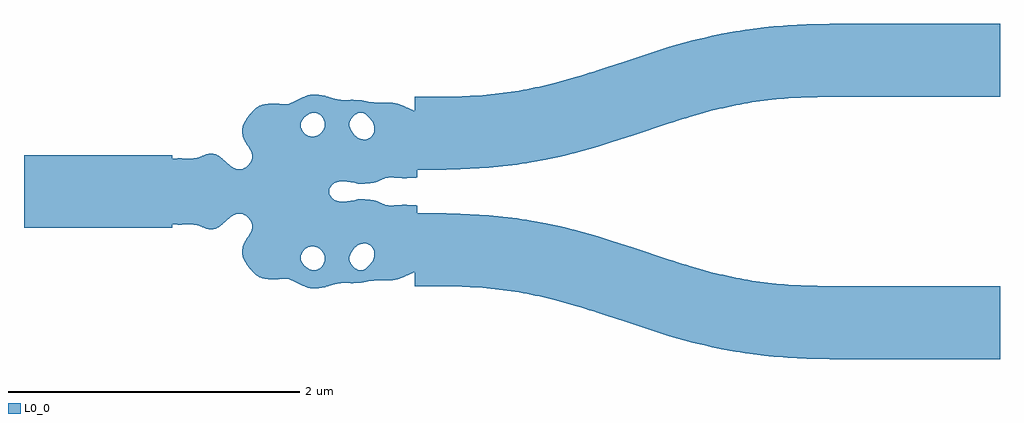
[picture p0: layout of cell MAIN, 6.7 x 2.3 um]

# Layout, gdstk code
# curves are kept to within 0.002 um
import gdstk
lib = gdstk.Library(unit=1e-6, precision=1e-09)
def R(c, l, rs):  # rectangles x0, y0, x1, y1
    for r in rs: c.add(gdstk.rectangle(r[:2], r[2:], *l))
def P(c, l, *ps):  # polygons
    for p in ps: c.add(gdstk.Polygon(p, *l))
L0_0 = (0, 0)

main_y = lib.new_cell('MAIN_Y')
R(main_y, L0_0, [(-3.35,0,-2.334,0.25)])
P(main_y, L0_0, [(-0.481,0.151),(-0.226,0.159),(-0.064,0.173),(0.068,0.19),(0.232,0.218),(0.427,0.263),(0.587,0.308),(0.837,0.387),(1.107,0.477),(1.366,0.553),(1.507,0.586),(1.701,0.62),(1.869,0.638),(2.068,0.648),(3.35,0.65),(3.35,1.15),(2.118,1.149),(1.894,1.141),(1.732,1.127),(1.633,1.115),(1.436,1.082),(1.241,1.037),(0.986,0.963),(0.445,0.787),(0.302,0.747),(0.161,0.714),(-0.033,0.68),(-0.201,0.662),(-0.4,0.652),(-0.666,0.65),(-0.666,0.15)],
  [(-1.848,0.442),(-1.852,0.43),(-1.852,0.398),(-1.848,0.378),(-1.832,0.342),(-1.788,0.27),(-1.788,0.542),(-1.82,0.502),(-1.844,0.458)],
  [(-1.788,0.214),(-1.802,0.189),(-1.826,0.166),(-1.846,0.156),(-1.862,0.152),(-1.882,0.152),(-1.918,0.165),(-2.006,0.239),(-2.026,0.251),(-2.05,0.259),(-2.074,0.26),(-2.094,0.256),(-2.154,0.232),(-2.194,0.225),(-2.294,0.227),(-2.35,0.224),(-2.35,0),(-1.788,0)],
  [(-1.45,0.458),(-1.443,0.486),(-1.434,0.5),(-1.416,0.518),(-1.386,0.536),(-1.362,0.541),(-1.346,0.54),(-1.326,0.532),(-1.306,0.516),(-1.306,0.66),(-1.35,0.665),(-1.386,0.664),(-1.434,0.647),(-1.494,0.616),(-1.526,0.604),(-1.546,0.6),(-1.666,0.604),(-1.699,0.598),(-1.734,0.587),(-1.754,0.575),(-1.788,0.542),(-1.788,0.45),(-1.45,0.45)],
  [(-1.306,0.407),(-1.319,0.394),(-1.342,0.381),(-1.358,0.377),(-1.382,0.377),(-1.406,0.385),(-1.43,0.404),(-1.444,0.426),(-1.45,0.45),(-1.788,0.45),(-1.788,0.27),(-1.783,0.25),(-1.784,0.226),(-1.788,0.214),(-1.788,0),(-1.306,0)],
  [(-1.286,0.446),(-1.297,0.418),(-1.306,0.407),(-1.306,0),(-1.256,0),(-1.252,0.022),(-1.23,0.05),(-1.211,0.062),(-1.178,0.071),(-1.122,0.068),(-1.05,0.053),(-1.018,0.053),(-1.018,0.356),(-1.042,0.361),(-1.078,0.384),(-1.104,0.418),(-1.116,0.45),(-1.116,0.47),(-1.111,0.486),(-1.096,0.51),(-1.082,0.524),(-1.054,0.54),(-1.033,0.542),(-1.018,0.537),(-1.018,0.622),(-1.05,0.628),(-1.17,0.628),(-1.206,0.632),(-1.282,0.656),(-1.306,0.66),(-1.306,0.516),(-1.289,0.486),(-1.285,0.47)],
  [(-1.014,0.054),(-0.974,0.057),(-0.934,0.065),(-0.858,0.096),(-0.826,0.098),(-0.722,0.092),(-0.65,0.097),(-0.65,0.548),(-0.678,0.556),(-0.738,0.584),(-0.794,0.604),(-0.818,0.608),(-0.934,0.608),(-0.978,0.613),(-1.018,0.622),(-1.018,0.537),(-0.998,0.524),(-0.972,0.498),(-0.953,0.47),(-0.944,0.442),(-0.944,0.422),(-0.949,0.402),(-0.961,0.382),(-0.974,0.369),(-0.99,0.36),(-1.002,0.356),(-1.018,0.356),(-1.018,0.053)])

main = lib.new_cell('MAIN')
main.add(gdstk.Reference(main_y, (0,0)))
main.add(gdstk.Reference(main_y, (0,0), x_reflection=True))

lib.write_gds('MAIN.gds')
